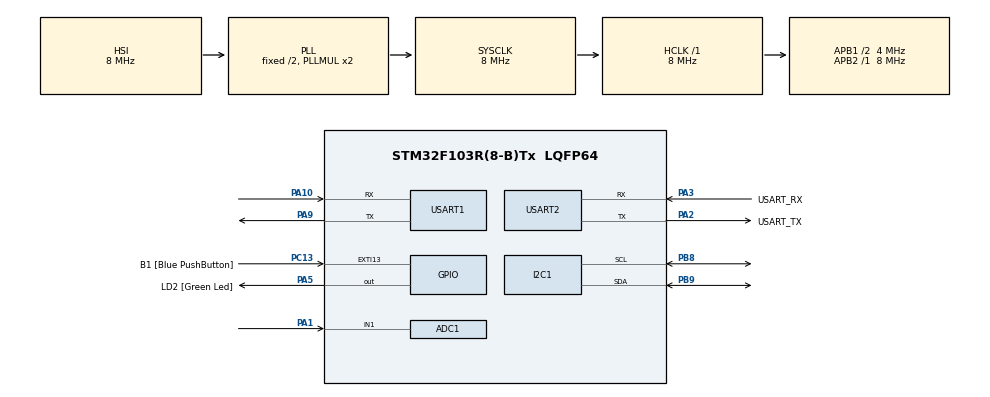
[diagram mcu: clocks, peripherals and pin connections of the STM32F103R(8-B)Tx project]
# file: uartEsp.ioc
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ADC1.Channel-0\#ChannelRegularConversion=ADC_CHANNEL_1
ADC1.ContinuousConvMode=ENABLE
ADC1.NbrOfConversionFlag=1
ADC1.Rank-0\#ChannelRegularConversion=1
ADC1.SamplingTime-0\#ChannelRegularConversion=ADC_SAMPLETIME_1CYCLE_5
ADC1.master=1
Dma.ADC1.0.Direction=DMA_PERIPH_TO_MEMORY
Dma.ADC1.0.Instance=DMA1_Channel1
Dma.ADC1.0.MemDataAlignment=DMA_MDATAALIGN_HALFWORD
Dma.ADC1.0.MemInc=DMA_MINC_ENABLE
Dma.ADC1.0.Mode=DMA_CIRCULAR
Dma.ADC1.0.PeriphDataAlignment=DMA_PDATAALIGN_HALFWORD
Dma.ADC1.0.PeriphInc=DMA_PINC_DISABLE
Dma.ADC1.0.Priority=DMA_PRIORITY_LOW
Dma.Request0=ADC1
FREERTOS.Queues01=yellowDataQueue,16,uint16_t,0,Static,yellowDataQueueBuffer,yellowDataQueueControlBlock;greenDataQueue,16,uint16_t,0,Static,greenDataQueueBuffer,greenDataQueueControlBlock
FREERTOS.Tasks01=sendData,24,128,SendDataTask,Default,NULL,Dynamic,NULL,NULL;receiveData,8,128,ReceiveDataTask,Default,NULL,Dynamic,NULL,NULL;persistGreenDat,8,128,PersistGreenDataTask,Default,NULL,Dynamic,NULL,NULL;persistYellowDa,8,128,PersistYellowDataTask,Default,NULL,Dynamic,NULL,NULL;printData,8,128,PrintDataTask,Default,NULL,Dynamic,NULL,NULL
FREERTOS.configTOTAL_HEAP_SIZE=4192
FREERTOS.configUSE_NEWLIB_REENTRANT=1
Mcu.Family=STM32F1
Mcu.Name=STM32F103R(8-B)Tx
Mcu.Package=LQFP64
NVIC.DMA1_Channel1_IRQn=true\:5\:0\:false\:false\:true\:true\:false\:true\:true
NVIC.EXTI15_10_IRQn=true\:5\:0\:false\:false\:true\:true\:true\:true\:true
NVIC.PriorityGroup=NVIC_PRIORITYGROUP_4
NVIC.TIM1_UP_IRQn=true\:15\:0\:false\:false\:true\:false\:false\:true\:true
NVIC.TimeBase=TIM1_UP_IRQn
NVIC.TimeBaseIP=TIM1
PA1.Signal=ADCx_IN1
PA10.Mode=Asynchronous
PA10.Signal=USART1_RX
PA13.GPIO_Label=TMS
PA13.Mode=Serial_Wire
PA13.Signal=SYS_JTMS-SWDIO
PA14.GPIO_Label=TCK
PA14.Mode=Serial_Wire
PA14.Signal=SYS_JTCK-SWCLK
PA2.GPIO_Label=USART_TX
PA2.GPIO_Mode=GPIO_MODE_AF_PP
PA2.GPIO_PuPd=GPIO_NOPULL
PA2.GPIO_Speed=GPIO_SPEED_FREQ_LOW
PA2.Mode=Asynchronous
PA2.Signal=USART2_TX
PA3.GPIO_Label=USART_RX
PA3.GPIO_Mode=GPIO_MODE_AF_PP
PA3.GPIO_PuPd=GPIO_NOPULL
PA3.GPIO_Speed=GPIO_SPEED_FREQ_LOW
PA3.Mode=Asynchronous
PA3.Signal=USART2_RX
PA5.GPIO_Label=LD2 [Green Led]
PA5.GPIO_ModeDefaultOutputPP=GPIO_MODE_OUTPUT_PP
PA5.GPIO_PuPd=GPIO_NOPULL
PA5.GPIO_Speed=GPIO_SPEED_FREQ_LOW
PA5.Signal=GPIO_Output
PA9.Mode=Asynchronous
PA9.Signal=USART1_TX
PB3.GPIO_Label=SWO
PB3.Signal=SYS_JTDO-TRACESWO
PB8.Mode=I2C
PB8.Signal=I2C1_SCL
PB9.Mode=I2C
PB9.Signal=I2C1_SDA
PC13-TAMPER-RTC.GPIO_Label=B1 [Blue PushButton]
PC13-TAMPER-RTC.GPIO_PuPd=GPIO_NOPULL
PC13-TAMPER-RTC.Signal=GPXTI13
PC14-OSC32_IN.Mode=LSE-External-Oscillator
PC14-OSC32_IN.Signal=RCC_OSC32_IN
PC15-OSC32_OUT.Mode=LSE-External-Oscillator
PC15-OSC32_OUT.Signal=RCC_OSC32_OUT
PD0-OSC_IN.Mode=HSE-External-Clock-Source
PD0-OSC_IN.Signal=RCC_OSC_IN
PD1-OSC_OUT.Mode=HSE-External-Clock-Source
PD1-OSC_OUT.Signal=RCC_OSC_OUT
ProjectManager.HeapSize=0x200
ProjectManager.StackSize=0x400
ProjectManager.TargetToolchain=STM32CubeIDE
RCC.AHBFreq_Value=8000000
RCC.APB1CLKDivider=RCC_HCLK_DIV2
RCC.APB1Freq_Value=4000000
RCC.APB1TimFreq_Value=8000000
RCC.APB2Freq_Value=8000000
RCC.APB2TimFreq_Value=8000000
RCC.HCLKFreq_Value=8000000
RCC.RTCClockSelection=RCC_RTCCLKSOURCE_LSE
RCC.SYSCLKFreq_VALUE=8000000
RCC.SYSCLKSource=RCC_SYSCLKSOURCE_PLLCLK
RCC.USBFreq_Value=8000000
SH.ADCx_IN1.0=ADC1_IN1,IN1
USART1.VirtualMode=VM_ASYNC
USART2.VirtualMode=VM_ASYNC
VP_FREERTOS_VS_CMSIS_V2.Mode=CMSIS_V2
VP_SYS_VS_tim1.Mode=TIM1
board=NUCLEO-F103RB

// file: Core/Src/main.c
/* USER CODE BEGIN Header */
/**
  ******************************************************************************
  * @file           : main.c
  * @brief          : Main program body
  ******************************************************************************
  * @attention
  *
  * Copyright (c) 2024 STMicroelectronics.
  * All rights reserved.
  *
  * This software is licensed under terms that can be found in the LICENSE file
  * in the root directory of this software component.
  * If no LICENSE file comes with this software, it is provided AS-IS.
  *
  ******************************************************************************
  */
/* USER CODE END Header */
#include "main.h"
#include "cmsis_os.h"

/* USER CODE BEGIN Includes */
#include <stdio.h>
/* USER CODE END Includes */

typedef StaticQueue_t osStaticMessageQDef_t;

/* USER CODE BEGIN PD */
#define ADC_BUFFER_SIZE (256)
/* USER CODE END PD */

ADC_HandleTypeDef hadc1;
DMA_HandleTypeDef hdma_adc1;

I2C_HandleTypeDef hi2c1;

UART_HandleTypeDef huart1;
UART_HandleTypeDef huart2;

/* Definitions for sendData */
osThreadId_t sendDataHandle;
const osThreadAttr_t sendData_attributes = {
  .name = "sendData",
  .stack_size = 128 * 4,
  .priority = (osPriority_t) osPriorityNormal,
};
/* Definitions for receiveData */
osThreadId_t receiveDataHandle;
const osThreadAttr_t receiveData_attributes = {
  .name = "receiveData",
  .stack_size = 128 * 4,
  .priority = (osPriority_t) osPriorityLow,
};
/* Definitions for persistGreenDat */
osThreadId_t persistGreenDatHandle;
const osThreadAttr_t persistGreenDat_attributes = {
  .name = "persistGreenDat",
  .stack_size = 128 * 4,
  .priority = (osPriority_t) osPriorityLow,
};
/* Definitions for persistYellowDa */
osThreadId_t persistYellowDaHandle;
const osThreadAttr_t persistYellowDa_attributes = {
  .name = "persistYellowDa",
  .stack_size = 128 * 4,
  .priority = (osPriority_t) osPriorityLow,
};
/* Definitions for printData */
osThreadId_t printDataHandle;
const osThreadAttr_t printData_attributes = {
  .name = "printData",
  .stack_size = 128 * 4,
  .priority = (osPriority_t) osPriorityLow,
};
/* Definitions for yellowDataQueue */
osMessageQueueId_t yellowDataQueueHandle;
uint8_t yellowDataQueueBuffer[ 16 * sizeof( uint16_t ) ];
osStaticMessageQDef_t yellowDataQueueControlBlock;
const osMessageQueueAttr_t yellowDataQueue_attributes = {
  .name = "yellowDataQueue",
  .cb_mem = &yellowDataQueueControlBlock,
  .cb_size = sizeof(yellowDataQueueControlBlock),
  .mq_mem = &yellowDataQueueBuffer,
  .mq_size = sizeof(yellowDataQueueBuffer)
};
/* Definitions for greenDataQueue */
osMessageQueueId_t greenDataQueueHandle;
uint8_t greenDataQueueBuffer[ 16 * sizeof( uint16_t ) ];
osStaticMessageQDef_t greenDataQueueControlBlock;
const osMessageQueueAttr_t greenDataQueue_attributes = {
  .name = "greenDataQueue",
  .cb_mem = &greenDataQueueControlBlock,
  .cb_size = sizeof(greenDataQueueControlBlock),
  .mq_mem = &greenDataQueueBuffer,
  .mq_size = sizeof(greenDataQueueBuffer)
};
/* USER CODE BEGIN PV */
volatile uint32_t adc_values[ADC_BUFFER_SIZE];
const char YELLOW_ID = 'y';
const char GREEN_ID = 'g';
static const uint8_t YELLOW_EEPROM_ADDR = 0x50 << 1;
static const uint8_t GREEN_EEPROM_ADDR = 0x51 << 1;
uint16_t currentYellowIndex, currentGreenIndex = 0;
/* USER CODE END PV */

void SystemClock_Config(void);
static void MX_GPIO_Init(void);
static void MX_DMA_Init(void);
static void MX_USART2_UART_Init(void);
static void MX_USART1_UART_Init(void);
static void MX_I2C1_Init(void);
static void MX_ADC1_Init(void);
void SendDataTask(void *argument);
void ReceiveDataTask(void *argument);
void PersistGreenDataTask(void *argument);
void PersistYellowDataTask(void *argument);
void PrintDataTask(void *argument);

/* USER CODE BEGIN PFP */
void persistData(osMessageQueueId_t queue, uint8_t address, uint16_t *currentIndex);
/* USER CODE END PFP */

/* USER CODE BEGIN 0 */
void persistData(osMessageQueueId_t queue, uint8_t address, uint16_t *currentIndex)
{
	uint8_t value;
	while (osMessageQueueGetCount(queue) > 0)
	{
	  osMessageQueueGet(queue, &value, NULL, 0);
	  HAL_I2C_Mem_Write(&hi2c1, address, *currentIndex, I2C_MEMADD_SIZE_16BIT, &value, 1, 500);
	  osDelay(20);
	  (*currentIndex)++;
	}
}
/* USER CODE END 0 */

int main(void)
{

  /* MCU Configuration--------------------------------------------------------*/

  /* Reset of all peripherals, Initializes the Flash interface and the Systick. */
  HAL_Init();

  /* Configure the system clock */
  SystemClock_Config();

  /* Initialize all configured peripherals */
  MX_GPIO_Init();
  MX_DMA_Init();
  MX_USART2_UART_Init();
  MX_USART1_UART_Init();
  MX_I2C1_Init();
  MX_ADC1_Init();

  /* Init scheduler */
  osKernelInitialize();

  /* Create the queue(s) */
  /* creation of yellowDataQueue */
  yellowDataQueueHandle = osMessageQueueNew (16, sizeof(uint16_t), &yellowDataQueue_attributes);

  /* creation of greenDataQueue */
  greenDataQueueHandle = osMessageQueueNew (16, sizeof(uint16_t), &greenDataQueue_attributes);

  /* Create the thread(s) */
  /* creation of sendData */
  sendDataHandle = osThreadNew(SendDataTask, NULL, &sendData_attributes);

  /* creation of receiveData */
  receiveDataHandle = osThreadNew(ReceiveDataTask, NULL, &receiveData_attributes);

  /* creation of persistGreenDat */
  persistGreenDatHandle = osThreadNew(PersistGreenDataTask, NULL, &persistGreenDat_attributes);

  /* creation of persistYellowDa */
  persistYellowDaHandle = osThreadNew(PersistYellowDataTask, NULL, &persistYellowDa_attributes);

  /* creation of printData */
  printDataHandle = osThreadNew(PrintDataTask, NULL, &printData_attributes);

  /* USER CODE BEGIN RTOS_EVENTS */
  /* add events, ... */
  HAL_ADC_Start_DMA(&hadc1, (uint32_t*)adc_values, ADC_BUFFER_SIZE);
  /* USER CODE END RTOS_EVENTS */

  /* Start scheduler */
  osKernelStart();

  /* We should never get here as control is now taken by the scheduler */

  /* Infinite loop */
  while (1)
  {

  }
}

void SystemClock_Config(void)
{
  RCC_OscInitTypeDef RCC_OscInitStruct = {0};
  RCC_ClkInitTypeDef RCC_ClkInitStruct = {0};
  RCC_PeriphCLKInitTypeDef PeriphClkInit = {0};

  /** Initializes the RCC Oscillators according to the specified parameters
  * in the RCC_OscInitTypeDef structure.
  */
  RCC_OscInitStruct.OscillatorType = RCC_OSCILLATORTYPE_HSI;
  RCC_OscInitStruct.HSIState = RCC_HSI_ON;
  RCC_OscInitStruct.HSICalibrationValue = RCC_HSICALIBRATION_DEFAULT;
  RCC_OscInitStruct.PLL.PLLState = RCC_PLL_ON;
  RCC_OscInitStruct.PLL.PLLSource = RCC_PLLSOURCE_HSI_DIV2;
  RCC_OscInitStruct.PLL.PLLMUL = RCC_PLL_MUL2;
  if (HAL_RCC_OscConfig(&RCC_OscInitStruct) != HAL_OK)
  {
    Error_Handler();
  }

  /** Initializes the CPU, AHB and APB buses clocks
  */
  RCC_ClkInitStruct.ClockType = RCC_CLOCKTYPE_HCLK|RCC_CLOCKTYPE_SYSCLK
                              |RCC_CLOCKTYPE_PCLK1|RCC_CLOCKTYPE_PCLK2;
  RCC_ClkInitStruct.SYSCLKSource = RCC_SYSCLKSOURCE_PLLCLK;
  RCC_ClkInitStruct.AHBCLKDivider = RCC_SYSCLK_DIV1;
  RCC_ClkInitStruct.APB1CLKDivider = RCC_HCLK_DIV2;
  RCC_ClkInitStruct.APB2CLKDivider = RCC_HCLK_DIV1;

  if (HAL_RCC_ClockConfig(&RCC_ClkInitStruct, FLASH_LATENCY_0) != HAL_OK)
  {
    Error_Handler();
  }
  PeriphClkInit.PeriphClockSelection = RCC_PERIPHCLK_ADC;
  PeriphClkInit.AdcClockSelection = RCC_ADCPCLK2_DIV2;
  if (HAL_RCCEx_PeriphCLKConfig(&PeriphClkInit) != HAL_OK)
  {
    Error_Handler();
  }
}

static void MX_ADC1_Init(void)
{

  ADC_ChannelConfTypeDef sConfig = {0};

  /** Common config
  */
  hadc1.Instance = ADC1;
  hadc1.Init.ScanConvMode = ADC_SCAN_DISABLE;
  hadc1.Init.ContinuousConvMode = ENABLE;
  hadc1.Init.DiscontinuousConvMode = DISABLE;
  hadc1.Init.ExternalTrigConv = ADC_SOFTWARE_START;
  hadc1.Init.DataAlign = ADC_DATAALIGN_RIGHT;
  hadc1.Init.NbrOfConversion = 1;
  if (HAL_ADC_Init(&hadc1) != HAL_OK)
  {
    Error_Handler();
  }

  /** Configure Regular Channel
  */
  sConfig.Channel = ADC_CHANNEL_1;
  sConfig.Rank = ADC_REGULAR_RANK_1;
  sConfig.SamplingTime = ADC_SAMPLETIME_1CYCLE_5;
  if (HAL_ADC_ConfigChannel(&hadc1, &sConfig) != HAL_OK)
  {
    Error_Handler();
  }

}

static void MX_I2C1_Init(void)
{

  hi2c1.Instance = I2C1;
  hi2c1.Init.ClockSpeed = 100000;
  hi2c1.Init.DutyCycle = I2C_DUTYCYCLE_2;
  hi2c1.Init.OwnAddress1 = 0;
  hi2c1.Init.AddressingMode = I2C_ADDRESSINGMODE_7BIT;
  hi2c1.Init.DualAddressMode = I2C_DUALADDRESS_DISABLE;
  hi2c1.Init.OwnAddress2 = 0;
  hi2c1.Init.GeneralCallMode = I2C_GENERALCALL_DISABLE;
  hi2c1.Init.NoStretchMode = I2C_NOSTRETCH_DISABLE;
  if (HAL_I2C_Init(&hi2c1) != HAL_OK)
  {
    Error_Handler();
  }

}

static void MX_USART1_UART_Init(void)
{

  huart1.Instance = USART1;
  huart1.Init.BaudRate = 115200;
  huart1.Init.WordLength = UART_WORDLENGTH_8B;
  huart1.Init.StopBits = UART_STOPBITS_1;
  huart1.Init.Parity = UART_PARITY_NONE;
  huart1.Init.Mode = UART_MODE_TX_RX;
  huart1.Init.HwFlowCtl = UART_HWCONTROL_NONE;
  huart1.Init.OverSampling = UART_OVERSAMPLING_16;
  if (HAL_UART_Init(&huart1) != HAL_OK)
  {
    Error_Handler();
  }

}

static void MX_USART2_UART_Init(void)
{

  huart2.Instance = USART2;
  huart2.Init.BaudRate = 115200;
  huart2.Init.WordLength = UART_WORDLENGTH_8B;
  huart2.Init.StopBits = UART_STOPBITS_1;
  huart2.Init.Parity = UART_PARITY_NONE;
  huart2.Init.Mode = UART_MODE_TX_RX;
  huart2.Init.HwFlowCtl = UART_HWCONTROL_NONE;
  huart2.Init.OverSampling = UART_OVERSAMPLING_16;
  if (HAL_UART_Init(&huart2) != HAL_OK)
  {
    Error_Handler();
  }

}

static void MX_DMA_Init(void)
{

  /* DMA controller clock enable */
  __HAL_RCC_DMA1_CLK_ENABLE();

  /* DMA interrupt init */
  /* DMA1_Channel1_IRQn interrupt configuration */
  HAL_NVIC_SetPriority(DMA1_Channel1_IRQn, 5, 0);
  HAL_NVIC_EnableIRQ(DMA1_Channel1_IRQn);

}

static void MX_GPIO_Init(void)
{
  GPIO_InitTypeDef GPIO_InitStruct = {0};

  /* GPIO Ports Clock Enable */
  __HAL_RCC_GPIOC_CLK_ENABLE();
  __HAL_RCC_GPIOD_CLK_ENABLE();
  __HAL_RCC_GPIOA_CLK_ENABLE();
  __HAL_RCC_GPIOB_CLK_ENABLE();

  /*Configure GPIO pin Output Level */
  HAL_GPIO_WritePin(LD2_GPIO_Port, LD2_Pin, GPIO_PIN_RESET);

  /*Configure GPIO pin : B1_Pin */
  GPIO_InitStruct.Pin = B1_Pin;
  GPIO_InitStruct.Mode = GPIO_MODE_IT_RISING;
  GPIO_InitStruct.Pull = GPIO_NOPULL;
  HAL_GPIO_Init(B1_GPIO_Port, &GPIO_InitStruct);

  /*Configure GPIO pin : LD2_Pin */
  GPIO_InitStruct.Pin = LD2_Pin;
  GPIO_InitStruct.Mode = GPIO_MODE_OUTPUT_PP;
  GPIO_InitStruct.Pull = GPIO_NOPULL;
  GPIO_InitStruct.Speed = GPIO_SPEED_FREQ_LOW;
  HAL_GPIO_Init(LD2_GPIO_Port, &GPIO_InitStruct);

  /* EXTI interrupt init*/
  HAL_NVIC_SetPriority(EXTI15_10_IRQn, 5, 0);
  HAL_NVIC_EnableIRQ(EXTI15_10_IRQn);

}

void SendDataTask(void *argument)
{
  /* USER CODE BEGIN 5 */
  /* Infinite loop */
  uint16_t valueToSend;
  for(;;)
  {
	valueToSend = adc_values[0];
	HAL_UART_Transmit(&huart1, (uint8_t*)&valueToSend, 2, 10);
    osDelay(20);
  }
  /* USER CODE END 5 */
}

void ReceiveDataTask(void *argument)
{
  /* USER CODE BEGIN ReceiveDataTask */
  /* Infinite loop */
  for(;;)
  {
	uint8_t buffer[2] = {};
	HAL_UART_Receive(&huart1, buffer, 2, 10);
	if (buffer[0] != YELLOW_ID && buffer[0] != GREEN_ID)
		continue;

	osMessageQueueId_t queue = buffer[0] == YELLOW_ID ? yellowDataQueueHandle : greenDataQueueHandle;
	if (osMessageQueueGetSpace(queue) > 0)
		osMessageQueuePut(queue, &buffer[1], 0, 0);

    osDelay(20);
  }
  /* USER CODE END ReceiveDataTask */
}

void PersistGreenDataTask(void *argument)
{
  /* USER CODE BEGIN PersistGreenDataTask */
  /* Infinite loop */
  for(;;)
  {
	persistData(greenDataQueueHandle, GREEN_EEPROM_ADDR, &currentGreenIndex);
    osDelay(1000);
  }
  /* USER CODE END PersistGreenDataTask */
}
void PersistYellowDataTask(void *argument)
{
  /* USER CODE BEGIN PersistYellowDataTask */
  /* Infinite loop */
  for(;;)
  {
	persistData(yellowDataQueueHandle, YELLOW_EEPROM_ADDR, &currentYellowIndex);
	osDelay(1000);
  }
  /* USER CODE END PersistYellowDataTask */
}

void PrintDataTask(void *argument)
{
  /* USER CODE BEGIN PrintDataTask */
  /* Infinite loop */
  char messageBuffer[128] = {};
  uint8_t output;
  osDelay(5000);
  for(;;)
  {
	HAL_I2C_Mem_Read(&hi2c1, YELLOW_EEPROM_ADDR, currentYellowIndex, I2C_MEMADD_SIZE_16BIT, &output, 1, 500);
	sprintf(messageBuffer, "Last persisted yellow: %u \r\n", output);
	HAL_UART_Transmit(&huart2, (uint8_t*)&messageBuffer, 128, 10);

	HAL_I2C_Mem_Read(&hi2c1, GREEN_EEPROM_ADDR, currentGreenIndex, I2C_MEMADD_SIZE_16BIT, &output, 1, 500);
	sprintf(messageBuffer, "Last persisted green: %u \r\n", output);
	HAL_UART_Transmit(&huart2, (uint8_t*)&messageBuffer, 128, 10);
    osDelay(5000);
  }
  /* USER CODE END PrintDataTask */
}

void HAL_TIM_PeriodElapsedCallback(TIM_HandleTypeDef *htim)
{
  if (htim->Instance == TIM1) {
    HAL_IncTick();
  }
}

void Error_Handler(void)
{
  __disable_irq();
  while (1)
  {
  }
}
